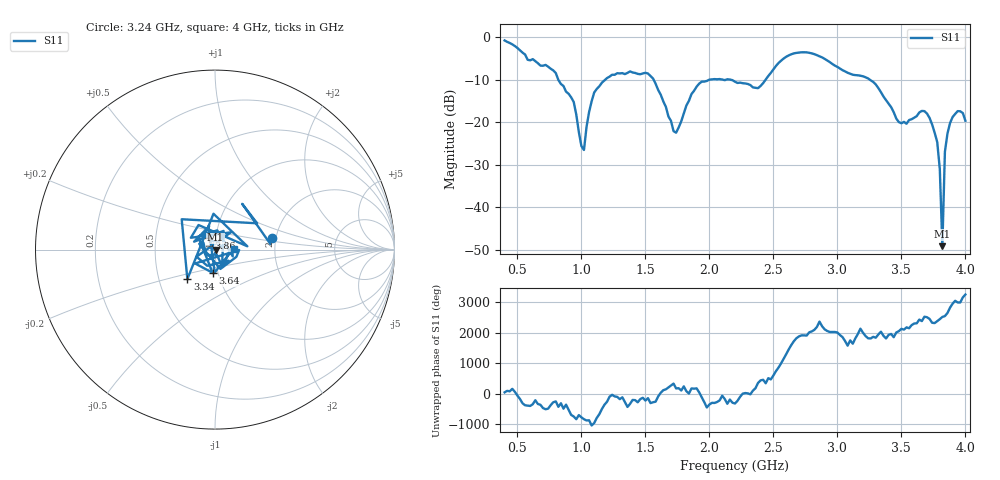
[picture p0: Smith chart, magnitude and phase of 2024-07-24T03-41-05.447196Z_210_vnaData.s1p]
!Created with skrf (http://scikit-rf.org).
# Hz S RI R 50.0
!freq ReS11 ImS11
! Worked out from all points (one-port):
!   181 points, 400 MHz to 4 GHz, reference 50 ohm
!   lowest |S11| = -49.2 dB at 3.82 GHz (marker M1), VSWR 1.01, Z = 50.3 - j0.0596 ohm
!   |S11| at or under -10 dB: 819 MHz to 1.187 GHz (367.9 MHz wide, 36.7 % of centre); 1.564 GHz to 2.004 GHz (440 MHz wide, 24.7 % of centre); 3.252 GHz to end of sweep (the widest 3 of 5)
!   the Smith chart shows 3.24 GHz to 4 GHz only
!   S11 on the Smith chart (normalised r, x): 3.24 GHz: 1.92, +0.27; 3.34 GHz: 0.70, -0.24; 3.64 GHz: 0.94, -0.25; 3.86 GHz: 0.92, +0.12; 4 GHz: 1.23, +0.01
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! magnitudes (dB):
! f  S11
! 400 MHz  -0.8
! 860 MHz  -11.5
! 940 MHz  -15.3
! 1.02 GHz  -26.6
! 1.06 GHz  -17.6
! 1.1 GHz  -13.0
! 1.3 GHz  -8.5
! 1.52 GHz  -8.6
! 1.72 GHz  -22.1
! 1.76 GHz  -21.3
! 1.92 GHz  -11.0
! 2.2 GHz  -10.5
! 2.38 GHz  -12.0
! 2.66 GHz  -3.8
! 3.1 GHz  -8.6
! 3.24 GHz  -9.7
! 3.34 GHz  -12.9
! 3.48 GHz  -20.0
! 3.56 GHz  -19.5
! 3.64 GHz  -17.7
! 3.7 GHz  -18.0
! 3.78 GHz  -24.7
! 3.8 GHz  -31.0
! 3.82 GHz  -49.2
! 3.84 GHz  -27.0
! 3.86 GHz  -22.7
! 3.94 GHz  -17.4
! 4 GHz  -19.7
